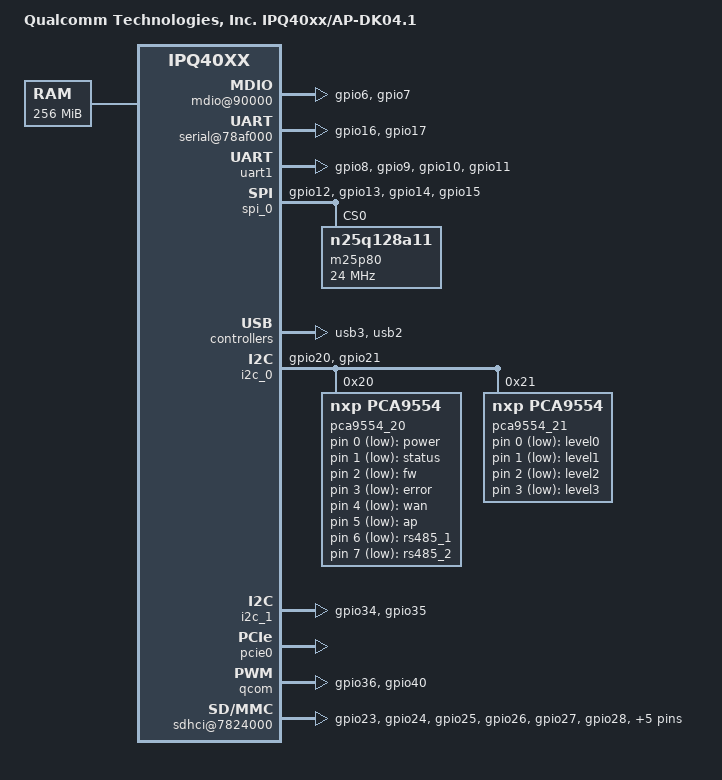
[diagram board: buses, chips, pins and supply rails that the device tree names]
/* Copyright (c) 2015, The Linux Foundation. All rights reserved.
 *
 * Permission to use, copy, modify, and/or distribute this software for any
 * purpose with or without fee is hereby granted, provided that the above
 * copyright notice and this permission notice appear in all copies.
 *
 * THE SOFTWARE IS PROVIDED "AS IS" AND THE AUTHOR DISCLAIMS ALL WARRANTIES
 * WITH REGARD TO THIS SOFTWARE INCLUDING ALL IMPLIED WARRANTIES OF
 * MERCHANTABILITY AND FITNESS. IN NO EVENT SHALL THE AUTHOR BE LIABLE FOR
 * ANY SPECIAL, DIRECT, INDIRECT, OR CONSEQUENTIAL DAMAGES OR ANY DAMAGES
 * WHATSOEVER RESULTING FROM LOSS OF USE, DATA OR PROFITS, WHETHER IN AN
 * ACTION OF CONTRACT, NEGLIGENCE OR OTHER TORTIOUS ACTION, ARISING OUT OF
 * OR IN CONNECTION WITH THE USE OR PERFORMANCE OF THIS SOFTWARE.
 *
 */

#include "qcom-ipq40xx.dtsi"
#include "qcom-ipq40xx-hsuart.dtsi"
#include <dt-bindings/input/input.h>
#include <dt-bindings/gpio/gpio.h>

/ {
	model = "Qualcomm Technologies, Inc. IPQ40xx/AP-DK04.1";
	compatible = "qcom,ipq40xx-apdk04.1", "qcom,ipq40xx";

	memory {
		device_type = "memory";
		reg = <0x80000000 0x10000000>; /* 256MB */
	};

	reserved-memory {
		#address-cells = <1>;
		#size-cells = <1>;
		ranges;
		rsvd1@87000000 {
			/* Reserved for other subsystem */
			reg = <0x87000000 0x500000>;
			no-map;
		};
		wifi_dump@87500000 {
			reg = <0x87500000 0x600000>;
			no-map;
		};

		rsvd2@87B00000 {
			/* Reserved for other subsystem */
			reg = <0x87B00000 0x500000>;
			no-map;
		};
	};

	chosen {
		bootargs-append = " clk_ignore_unused";
	};

	leds {
		compatible = "gpio-leds";

		power {
			label = "power";
			gpios = <&pca9554_20 0 GPIO_ACTIVE_LOW>;
			linux,default-trigger = "gpio";
			default-state = "on";
		};

		status {
			label = "status";
			gpios = <&pca9554_20 1 GPIO_ACTIVE_LOW>;
			linux,default-trigger = "gpio";
			default-state = "on";
		};

		fw {
			label = "fw";
			gpios = <&pca9554_20 2 GPIO_ACTIVE_LOW>;
			linux,default-trigger = "gpio";
			default-state = "off";
		};

		error {
			label = "error";
			gpios = <&pca9554_20 3 GPIO_ACTIVE_LOW>;
			linux,default-trigger = "gpio";
			default-state = "off";
		};

		wan {
			label = "wan";
			gpios = <&pca9554_20 4 GPIO_ACTIVE_LOW>;
			linux,default-trigger = "gpio";
			default-state = "off";
		};

		ap {
			label = "ap";
			gpios = <&pca9554_20 5 GPIO_ACTIVE_LOW>;
			linux,default-trigger = "gpio";
			default-state = "off";
		};

		rs485_1 {
			label = "rs485_1";
			gpios = <&pca9554_20 6 GPIO_ACTIVE_LOW>;
			linux,default-trigger = "gpio";
			default-state = "off";
		};

		rs485_2 {
			label = "rs485_2";
			gpios = <&pca9554_20 7 GPIO_ACTIVE_LOW>;
			linux,default-trigger = "gpio";
			default-state = "off";
		};

		level0 {
			label = "level0";
			gpios = <&pca9554_21 0 GPIO_ACTIVE_LOW>;
			linux,default-trigger = "gpio";
			default-state = "off";
		};

		level1 {
			label = "level1";
			gpios = <&pca9554_21 1 GPIO_ACTIVE_LOW>;
			linux,default-trigger = "gpio";
			default-state = "off";
		};

		level2 {
			label = "level2";
			gpios = <&pca9554_21 2 GPIO_ACTIVE_LOW>;
			linux,default-trigger = "gpio";
			default-state = "off";
		};

		level3 {
			label = "level3";
			gpios = <&pca9554_21 3 GPIO_ACTIVE_LOW>;
			linux,default-trigger = "gpio";
			default-state = "off";
		};
	};
};
	&soc {
		pinctrl@0x01000000 {
			serial_0_pins: serial0_pinmux {
				mux {
					pins = "gpio16", "gpio17";
					function = "blsp_uart0";
					bias-disable;
				};
			};

			led_0_pins: led0_pinmux {
				mux_1 {
					pins = "gpio36";
					function = "led0";
					bias-pull-down;
				};
				mux_2 {
					pins = "gpio40";
					function = "led4";
					bias-pull-down;
				};
			};

			serial_1_pins: serial1_pinmux {
				mux {
					pins = "gpio8", "gpio9";
					function = "blsp_uart1";
					bias-disable;
				};
			};

			uart1_pins: uart1_pinmux {
				mux {
					pins = "gpio8", "gpio9", "gpio10", "gpio11";
					function = "blsp_uart1";
					bias-disable;
				};
			};

			spi_0_pins: spi_0_pinmux {
				mux {
					pins = "gpio12", "gpio13", "gpio14", "gpio15";
					function = "blsp_spi0";
					bias-disable;
				};
			};

			i2c_0_pins: i2c_0_pinmux {
				mux {
					pins = "gpio20", "gpio21";
					function = "blsp_i2c0";
					bias-disable;
				};
			};

            i2c_1_pins: i2c_1_pinmux {
				mux {
					pins = "gpio34", "gpio35";
					function = "blsp_i2c1";
					bias-disable;
				};
			};

			sd_0_pins: sd_0_pinmux {
				sd0 {
					pins = "gpio23";
					function = "sdio0";
					pull-res = <RES_35_KOHM>;
					drive-type = <DRV_TYPE_C>;
					vm-enable;
				};
				sd1 {
					pins = "gpio24";
					function = "sdio1";
					pull-res = <RES_35_KOHM>;
					drive-type = <DRV_TYPE_C>;
					vm-enable;
				};
				sd2 {
					pins = "gpio25";
					function = "sdio2";
					pull-res = <RES_35_KOHM>;
					drive-type = <DRV_TYPE_C>;
					vm-enable;
				};
				sd3 {
					pins = "gpio26";
					function = "sdio3";
					pull-res = <RES_35_KOHM>;
					drive-type = <DRV_TYPE_C>;
					vm-enable;
				};
				sdclk {
					pins = "gpio27";
					function = "sdio_clk";
					pull-res = <RES_35_KOHM>;
					drive-type = <DRV_TYPE_A>;
					vm-enable;
				};
				sdcmd {
					pins = "gpio28";
					function = "sdio_cmd";
					pull-res = <RES_35_KOHM>;
					drive-type = <DRV_TYPE_C>;
					vm-enable;
				};
				sd4 {
					pins = "gpio29";
					function = "sdio4";
					pull-res = <RES_35_KOHM>;
					drive-type = <DRV_TYPE_C>;
					vm-enable;
				};
				sd5 {
					pins = "gpio30";
					function = "sdio5";
					pull-res = <RES_35_KOHM>;
					drive-type = <DRV_TYPE_C>;
					vm-enable;
				};
				sd6 {
					pins = "gpio31";
					function = "sdio6";
					pull-res = <RES_35_KOHM>;
					drive-type = <DRV_TYPE_C>;
					vm-enable;
				};
				sd7 {
					pins = "gpio32";
					function = "sdio7";
					pull-res = <RES_35_KOHM>;
					drive-type = <DRV_TYPE_C>;
					vm-enable;
				};
			};
			// ts_0_pins: ts_0_pinmux {
			// 	mux_1 {
			// 		pins = "gpio34";
			// 		output-high;
			// 	};
			// 	mux_2 {
			// 		pins= "gpio35";
			// 		input-enable;
			// 		bias-pull-up;
			// 	};
			// };
			mdio_pins: mdio_pinmux {
				mux_1 {
					pins = "gpio6";
					function = "mdio0";
					bias-pull-up;
				};
				mux_2 {
					pins = "gpio7";
					function = "mdc";
					bias-pull-up;
				};
			};

			inhand_pins: inhand_pinmux {
				mux_1 {
					//pins = "gpio18", "gpio48", "gpio50", "gpio51", "gpio52", "gpio53", "gpio54", "gpio55", "gpio56", "gpio57", "gpio58", "gpio59", "gpio60", "gpio61", "gpio65", "gpio66", "gpio67", "gpio68", "gpio69", "gpio37", "gpio42", "gpio43";
					pins = "gpio18", "gpio48", "gpio50", "gpio51", "gpio52", "gpio53", "gpio54", "gpio55", "gpio56", "gpio57", "gpio58", "gpio59", "gpio60", "gpio61", "gpio65", "gpio66", "gpio67", "gpio68", "gpio69";
					function = "gpio";
					bias-disable;
				};
			};

			inhand_pins_out_low: inhand_pinmux_ol {
				mux_1 {
					pins = "gpio49";
					function = "gpio";
					output-low;
					bias-disable;
				};
			};

			inhand_pins_out_high: inhand_pinmux_oh {
				mux_1 {
					pins = "gpio62", "gpio63", "gpio64";
					function = "gpio";
					output-high;
					bias-disable;
				};
			};
		};

		mdio@90000 {
			status = "ok";
			pinctrl-0 = <&mdio_pins>;
			pinctrl-names = "default";
			phy-reset-gpio = <&tlmm 47 0>;
			status = "ok";
			bias-disable;
		};

		serial@78af000 {
			pinctrl-0 = <&serial_0_pins>;
			pinctrl-names = "default";
			status = "ok";
		};

		serial@78b0000 {
			pinctrl-0 = <&serial_1_pins>;
			pinctrl-names = "default";
			status = "disabled";
		};

		uart1:uart@78b0000 {
			pinctrl-0 = <&uart1_pins>;
			pinctrl-1 = <&uart1_pins>;
			pinctrl-names = "default", "sleep";
			status = "ok";
		};

		spi_0: spi@78b5000 { /* BLSP1 QUP1 */
			pinctrl-0 = <&spi_0_pins>;
			pinctrl-names = "default";
			status = "ok";

			m25p80@0 {
				#address-cells = <1>;
				#size-cells = <1>;
				reg = <0>;
				compatible = "n25q128a11";
				linux,modalias = "m25p80", "n25q128a11";
				spi-max-frequency = <24000000>;
				use-default-sizes;
			};
		};

		tcsr: tcsr@194b000 {
			status = "ok";
		};

		usb3_ss_phy: ssphy@0 {
			status = "ok";
		};

		dummy_ss_phy: ssphy@1 {
			status = "ok";
		};

		usb3_hs_phy: hsphy@a6000 {
			status = "ok";
		};

		usb2_hs_phy: hsphy@a8000 {
			status = "ok";
		};

		usb3: usb3@8a00000 {
			status = "ok";
		};

		usb2: usb2@6000000 {
			status = "ok";
		};

		i2c_0: i2c@78b7000 { /* BLSP1 QUP2 */
			pinctrl-0 = <&i2c_0_pins>;
			pinctrl-1 = <&i2c_0_pins>;
			pinctrl-names = "i2c_active", "i2c_sleep";
			status = "ok";

			pca9554_20: pca9554_20@20 {
				compatible = "nxp,pca9554";
				gpio-controller;
				#gpio-cells = <2>;
				ngpios = <8>;
				reg = <0x20>;
				status = "ok";
			};

			pca9554_21: pca9554_21@21 {
				compatible = "nxp,pca9554";
				gpio-controller;
				#gpio-cells = <2>;
				reg = <0x21>;
				status = "ok";
			};
		};

        i2c_1: i2c@78b8000 { /* BLSP1 QUP4 */
            pinctrl-0 = <&i2c_1_pins>;
			pinctrl-1 = <&i2c_1_pins>;
			pinctrl-names = "i2c_active", "i2c_sleep";
			status = "ok";
        };

		qcom_crypto: qcrypto@8e20000 {
			status = "ok";
		};

		qcom_cedev: qcedev@8e20000 {
			status = "ok";
		};

		pcie0: qcom,pcie@80000 {
			status = "ok";
			perst-gpio = <&tlmm 38 0>;
			clkreq-gpio = <&tlmm 39 0>;
			wake-gpio = <&tlmm 50 0>;

			pcie@0 {
				reg = <0 0 0 0 0>;
				#interrupt-cells = <1>;
				#size-cells = <2>;
				#address-cells = <3>;
				device_type = "pci";

				ath10k@0,0 {
					reg = <0 0 0 0 0>;
					device_type = "pci";
					qcom,mtd-name = "0:ART";
					qcom,cal-offset = <0x9000>;
					qcom,cal-len = <12064>;
				};
			};
		};

		qcom: ledc@1937000  {
			status = "ok";
			pinctrl-0 = <&led_0_pins>;
			pinctrl-names = "default";
		};

		ess-switch@c000000 {
			switch_mac_mode = <0x0>; /* mac mode for RGMII RMII */
			switch_initvlas = <
				0x0007c 0x54 /* PORT0_STATUS */
			>;
			led_source@0 {
				led = <0x3>;     /*led number */
				source = <0x1>;  /*source id 1 */
				mode = "normal"; /*on,off,blink,normal */
				speed = "all";   /*10M,100M,1000M,all */
				freq = "auto";   /*2Hz,4Hz,8Hz,auto*/
			};
			led_source@1 {
				led = <0x4>;     /*led number */
				source = <0x4>;  /*source id 4 */
				mode = "normal"; /*on,off,blink,normal */
				speed = "all";   /*10M,100M,1000M,all */
				freq = "auto";   /*2Hz,4Hz,8Hz,auto*/
			};
			led_source@2 {
				led = <0x5>;     /*led number */
				source = <0x7>;  /*source id 7 */
				mode = "normal"; /*on,off,blink,normal */
				speed = "all";   /*10M,100M,1000M,all */
				freq = "auto";   /*2Hz,4Hz,8Hz,auto*/
			};
			led_source@3 {
				led = <0x6>;     /*led number */
				source = <0xa>;  /*source id 10 */
				mode = "normal"; /*on,off,blink,normal */
				speed = "all";   /*10M,100M,1000M,all */
				freq = "auto";   /*2Hz,4Hz,8Hz,auto*/
			};
			led_source@4 {
				led = <0x7>;     /*led number */
				source = <0xd>;  /*source id 13 */
				mode = "normal"; /*on,off,blink,normal */
				speed = "all";   /*10M,100M,1000M,all */
				freq = "auto";   /*2Hz,4Hz,8Hz,auto*/
			};
		};

		vccq_sd0: regulator@0 {
			compatible = "qcom,regulator-ipq40xx";
			regulator-name = "SD0 VccQ";
			regulator-min-microvolt = <1800000>;
			regulator-max-microvolt = <3000000>;
			states = <3000000 0x3
				1800000 0x1>;
			reg = <0x01948000 0x4>;
			mask = <0x3>;
		};

		sdhci@7824000 {
			status = "ok";
			pinctrl-0 = <&sd_0_pins>;
			pinctrl-names = "default";
			vqmmc-supply = <&vccq_sd0>;
			cd-gpios = <&tlmm 22 0x1>;
			sd-ldo-gpios = <&tlmm 33 0x1>;
		};

		qcom,nand@7980000 {
			status = "disabled";
		};

		/* wucl: gpio 18 is for reset key
		gpio_keys {
			compatible = "gpio-keys";

			button@1 {
				label = "wps";
				linux,code = <KEY_WPS_BUTTON>;
				gpios = <&tlmm 18 GPIO_ACTIVE_LOW>;
				linux,input-type = <1>;
			};
		};
		*/

		wifi0: wifi@a000000 {
			wifi_led_num = <1>;         /* Wifi 2G */
			wifi_led_source = <0>;      /* source id 0 */
			qcom,mtd-name = "0:ART";
			qcom,cal-offset = <0x1000>;
			qcom,cal-len = <12064>;
		};

		wifi1: wifi@a800000 {
			wifi_led_num = <2>;         /* Wifi 5G */
			wifi_led_source = <2>;      /* source id 2 */
			qcom,mtd-name = "0:ART";
			qcom,cal-offset = <0x5000>;
			qcom,cal-len = <12064>;
		};
	};
